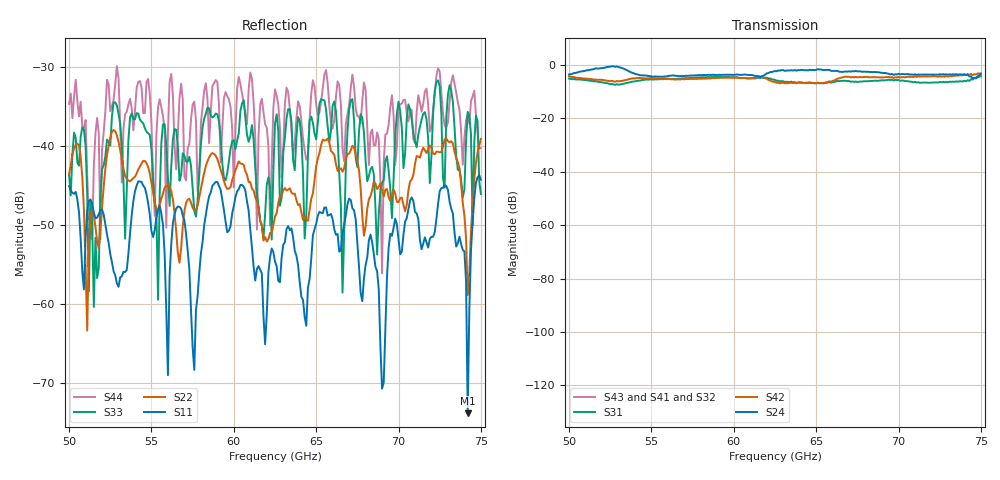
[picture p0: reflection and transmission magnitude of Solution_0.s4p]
# GHZ S RI R 50
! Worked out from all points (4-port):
!   251 points, 50 GHz to 75 GHz, reference 50 ohm
!   strongest paths, dB at 50 GHz, 56.2 GHz, 62.5 GHz, 68.8 GHz, 75 GHz:
!     S24: -3.6, -4.0, -2.3, -2.7, -3.3
!     S42: -4.2, -5.4, -6.4, -4.6, -3.2
!     S31: -5.1, -5.3, -5.6, -5.9, -4.2
!     S43: -, -, -, -, -
!     S41: -, -, -, -, -
!     S32: -, -, -, -, -
!   lowest |S11| = -73.8 dB at 74.2 GHz (marker M1), VSWR 1.00, Z = 50 + j0.0174 ohm
!   |S11| at or under -10 dB: start of sweep to end of sweep
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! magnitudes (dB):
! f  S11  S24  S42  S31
! 50 GHz  -45.1  -3.6  -4.2  -5.1
! 66.6 GHz  -51.0  -2.6  -4.7  -6.0
! 67.2 GHz  -47.9  -2.3  -4.5  -6.2
! 69 GHz  -70.7  -2.9  -4.7  -5.7
! 72.9 GHz  -45.1  -3.5  -4.2  -6.4
! 74.2 GHz  -73.8  -3.6  -3.4  -5.7
! 75 GHz  -44.3  -3.3  -3.2  -4.2
